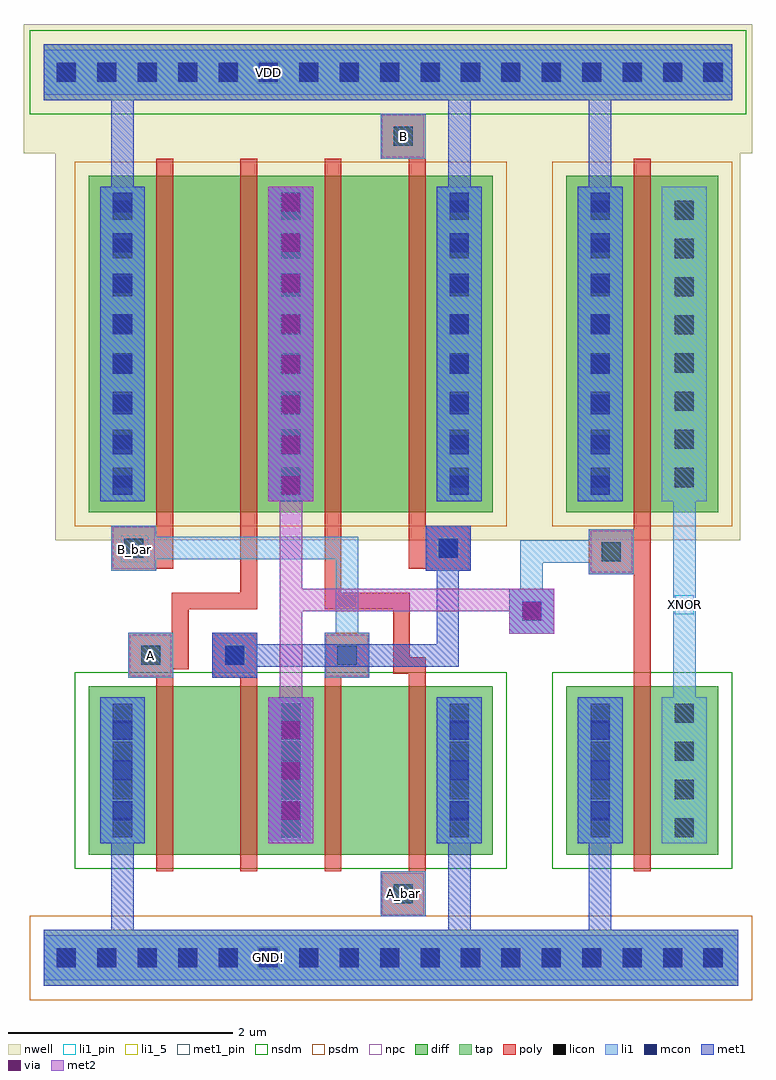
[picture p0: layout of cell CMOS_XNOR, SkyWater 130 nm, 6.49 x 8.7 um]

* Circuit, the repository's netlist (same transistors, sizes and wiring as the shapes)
* NGSPICE file created from CMOS_XNOR.ext - technology: sky130A

.subckt CMOS_XNOR XNOR B A_bar A B_bar GND VDD
X0 VDD B a_n117_546# VDD sky130_fd_pr__pfet_01v8 ad=5.4e+12p pd=2.16e+07u as=1.8e+12p ps=7.2e+06u w=3e+06u l=150000u
X1 GND A_bar a_n117_n64# GND sky130_fd_pr__nfet_01v8 ad=2.7e+12p pd=1.26e+07u as=9e+11p ps=4.2e+06u w=1.5e+06u l=150000u
X2 a_n267_n64# A a_n417_546# VDD sky130_fd_pr__pfet_01v8 ad=1.8e+12p pd=7.2e+06u as=1.8e+12p ps=7.2e+06u w=3e+06u l=150000u
X3 a_n267_n64# B a_n417_n64# GND sky130_fd_pr__nfet_01v8 ad=9e+11p pd=4.2e+06u as=9e+11p ps=4.2e+06u w=1.5e+06u l=150000u
X4 XNOR a_n267_n64# VDD VDD sky130_fd_pr__pfet_01v8 ad=1.8e+12p pd=7.2e+06u as=0p ps=0u w=3e+06u l=150000u
X5 XNOR a_n267_n64# GND GND sky130_fd_pr__nfet_01v8 ad=9e+11p pd=4.2e+06u as=0p ps=0u w=1.5e+06u l=150000u
X6 a_n117_546# A_bar a_n267_n64# VDD sky130_fd_pr__pfet_01v8 ad=0p pd=0u as=0p ps=0u w=3e+06u l=150000u
X7 a_n117_n64# B_bar a_n267_n64# GND sky130_fd_pr__nfet_01v8 ad=0p pd=0u as=0p ps=0u w=1.5e+06u l=150000u
X8 a_n417_546# B_bar VDD VDD sky130_fd_pr__pfet_01v8 ad=0p pd=0u as=0p ps=0u w=3e+06u l=150000u
X9 a_n417_n64# A GND GND sky130_fd_pr__nfet_01v8 ad=0p pd=0u as=0p ps=0u w=1.5e+06u l=150000u
.ends

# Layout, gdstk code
import gdstk
lib = gdstk.Library(unit=1e-6, precision=1e-09)
def R(c, l, rs):  # rectangles x0, y0, x1, y1
    for r in rs: c.add(gdstk.rectangle(r[:2], r[2:], *l))
def A(c, l, x, y, w, h, nx, ny, dx, dy):  # array of equal rectangles
    R(c, l, [(x+i*dx, y+j*dy, x+i*dx+w, y+j*dy+h) for i in range(nx) for j in range(ny)])
nwell = (64, 20)
diff = (65, 20)
tap = (65, 44)
poly = (66, 20)
licon = (66, 44)
li1_5 = (67, 5)
li1_pin = (67, 16)
li1 = (67, 20)
mcon = (67, 44)
met1_pin = (68, 16)
met1 = (68, 20)
via = (68, 44)
met2 = (69, 20)
nsdm = (93, 44)
psdm = (94, 20)
npc = (95, 20)

cmos_xnor = lib.new_cell('CMOS_XNOR')
R(cmos_xnor, nwell, [(-3.135,2.48,2.97,5.93), (-3.415,5.93,3.075,7.08)])
R(cmos_xnor, diff, [(-2.835,-0.32,0.765,1.18), (1.42,-0.32,2.77,1.18), (-2.835,2.73,0.765,5.73), (1.42,2.73,2.77,5.73)])
R(cmos_xnor, tap, [(-3.235,-1.49,2.95,-0.99), (-3.235,6.4,2.895,6.9)])
A(cmos_xnor, poly, -2.235, -0.47, 0.15, 1.725, 3, 1, 0.75, 0)
R(cmos_xnor, poly, [(-0.235,-0.87,0.165,-0.47), (0.015,-0.47,0.165,1.29), (2.02,-0.47,2.17,2.18), (-2.485,1.255,-2.085,1.33), (-1.735,1.255,-1.335,1.655), (-0.735,1.255,-0.335,1.655), (-0.125,1.29,0.165,1.44), (-2.485,1.33,-1.945,1.655), (-0.125,1.44,0.025,1.865), (-2.095,1.655,-1.945,1.865), (-2.095,1.865,-1.335,2.015), (-0.735,1.865,0.025,2.015), (-1.485,2.015,-1.335,5.88), (-0.735,2.015,-0.585,5.88), (1.62,2.18,2.17,2.58), (-2.635,2.21,-2.235,2.225), (0.165,2.21,0.565,2.225), (-2.635,2.225,-2.085,2.61), (0.015,2.225,0.565,2.61), (2.02,2.58,2.17,5.88), (-2.235,2.61,-2.085,5.88), (0.015,2.61,0.165,5.88), (-0.235,5.88,0.165,6.28)])
A(cmos_xnor, licon, -3.12, -1.325, 0.17, 0.17, 17, 2, 0.36, 7.89)
A(cmos_xnor, licon, -2.62, -0.165, 0.17, 0.17, 3, 4, 1.5, 0.34)
A(cmos_xnor, licon, 1.635, -0.165, 0.17, 0.17, 1, 4, 0, 0.34)
A(cmos_xnor, licon, 2.385, -0.165, 0.17, 0.17, 1, 4, 0, 0.34)
A(cmos_xnor, licon, -2.62, 2.955, 0.17, 0.17, 3, 8, 1.5, 0.34)
A(cmos_xnor, licon, 1.635, 2.955, 0.17, 0.17, 1, 8, 0, 0.34)
A(cmos_xnor, licon, 2.385, 2.955, 0.17, 0.17, 1, 8, 0, 0.34)
R(cmos_xnor, licon, [(-0.12,-0.755,0.05,-0.585), (-2.37,1.37,-2.2,1.54), (-1.62,1.37,-1.45,1.54), (-0.62,1.37,-0.45,1.54), (1.735,2.295,1.905,2.465), (-2.52,2.325,-2.35,2.495), (0.28,2.325,0.45,2.495), (-0.12,5.995,0.05,6.165)])
R(cmos_xnor, li1_5, [(1.735,2.295,1.905,2.465)])
R(cmos_xnor, li1_pin, [(-0.12,-0.755,0.05,-0.585), (-2.37,1.37,-2.2,1.54), (2.385,1.82,2.555,1.99), (-2.55,2.285,-2.305,2.52), (-0.12,5.995,0.05,6.165)])
A(cmos_xnor, li1, -2.735, -0.22, 0.4, 1.3, 3, 1, 1.5, 0)
A(cmos_xnor, li1, -2.735, 2.83, 0.4, 2.8, 3, 1, 1.5, 0)
R(cmos_xnor, li1, [(-3.235,-1.44,2.95,-1.04), (-0.235,-0.87,0.165,-0.47), (1.52,-0.22,1.92,1.08), (2.27,-0.22,2.67,1.08), (2.37,1.08,2.57,2.83), (-2.485,1.255,-2.085,1.655), (-1.735,1.255,-1.335,1.655), (-0.735,1.255,-0.335,1.655), (0.91,1.65,1.31,2.05), (-0.635,1.655,-0.435,2.31), (1.01,2.05,1.21,2.28), (1.62,2.18,2.02,2.28), (-2.635,2.21,-2.235,2.31), (0.165,2.21,0.565,2.61), (1.01,2.28,2.02,2.48), (-2.635,2.31,-0.435,2.51), (1.62,2.48,2.02,2.58), (-2.635,2.51,-2.235,2.61), (1.52,2.83,1.92,5.63), (2.27,2.83,2.67,5.63), (-0.235,5.88,0.165,6.28), (-3.235,6.45,2.895,6.85)])
A(cmos_xnor, mcon, -3.12, -1.325, 0.17, 0.17, 17, 2, 0.36, 7.89)
A(cmos_xnor, mcon, -2.62, -0.015, 0.17, 0.17, 3, 3, 1.5, 0.36)
A(cmos_xnor, mcon, 1.635, -0.015, 0.17, 0.17, 1, 3, 0, 0.36)
A(cmos_xnor, mcon, -2.62, 2.885, 0.17, 0.17, 3, 8, 1.5, 0.36)
A(cmos_xnor, mcon, 1.635, 2.885, 0.17, 0.17, 1, 8, 0, 0.36)
R(cmos_xnor, mcon, [(-1.62,1.37,-1.45,1.54), (1.025,1.765,1.195,1.935), (0.28,2.325,0.45,2.495)])
R(cmos_xnor, met1_pin, [(-1.335,-1.34,-1.135,-1.14), (-1.335,6.55,-1.135,6.75)])
A(cmos_xnor, met1, -2.735, -0.22, 0.4, 1.3, 3, 1, 1.5, 0)
A(cmos_xnor, met1, -2.735, 2.83, 0.4, 2.8, 3, 1, 1.5, 0)
R(cmos_xnor, met1, [(-3.235,-1.49,2.95,-0.99), (-2.635,-0.99,-2.435,-0.22), (0.365,-0.99,0.565,-0.22), (1.62,-0.99,1.82,-0.22), (1.52,-0.22,1.92,1.08), (-1.735,1.255,-1.335,1.355), (-1.735,1.355,0.46,1.555), (-1.735,1.555,-1.335,1.655), (0.265,1.555,0.46,2.21), (0.91,1.65,1.31,2.05), (0.165,2.21,0.565,2.61), (1.52,2.83,1.92,5.63), (-2.635,5.63,-2.435,6.4), (0.365,5.63,0.565,6.4), (1.62,5.63,1.82,6.4), (-3.235,6.4,2.895,6.9)])
A(cmos_xnor, via, -1.11, -0.005, 0.15, 0.15, 1, 3, 0, 0.36)
A(cmos_xnor, via, -1.11, 2.895, 0.15, 0.15, 1, 8, 0, 0.36)
R(cmos_xnor, via, [(1.035,1.775,1.185,1.925)])
R(cmos_xnor, met2, [(-1.235,-0.22,-0.835,1.08), (-1.135,1.08,-0.935,1.85), (0.91,1.65,1.31,1.85), (-1.135,1.85,1.31,2.05), (-1.135,2.05,-0.935,2.83), (-1.235,2.83,-0.835,5.63)])
R(cmos_xnor, nsdm, [(-2.96,-0.445,0.89,1.305), (1.295,-0.445,2.895,1.305), (-3.36,6.275,3.02,7.025)])
R(cmos_xnor, psdm, [(-3.36,-1.615,3.075,-0.865), (-2.96,2.605,0.89,5.855), (1.295,2.605,2.895,5.855)])
R(cmos_xnor, npc, [(-0.22,-0.855,0.15,-0.485), (-2.47,1.27,-2.1,1.64), (-1.72,1.27,-1.35,1.64), (-0.72,1.27,-0.35,1.64), (1.635,2.195,2.005,2.565), (-2.62,2.225,-2.25,2.595), (0.18,2.225,0.55,2.595), (-0.22,5.895,0.15,6.265)])
cmos_xnor.add(gdstk.Label('XNOR', (2.47,1.905), layer=67, texttype=16))
cmos_xnor.add(gdstk.Label('B', (-0.035,6.08), layer=67, texttype=16))
cmos_xnor.add(gdstk.Label('A_bar', (-0.035,-0.67), layer=67, texttype=16))
cmos_xnor.add(gdstk.Label('A', (-2.285,1.455), layer=67, texttype=16))
cmos_xnor.add(gdstk.Label('B_bar', (-2.427,2.402), layer=67, texttype=16))
cmos_xnor.add(gdstk.Label('GND!', (-1.235,-1.24), layer=68, texttype=16))
cmos_xnor.add(gdstk.Label('VDD', (-1.235,6.65), layer=68, texttype=16))

lib.write_gds('CMOS_XNOR.gds')
